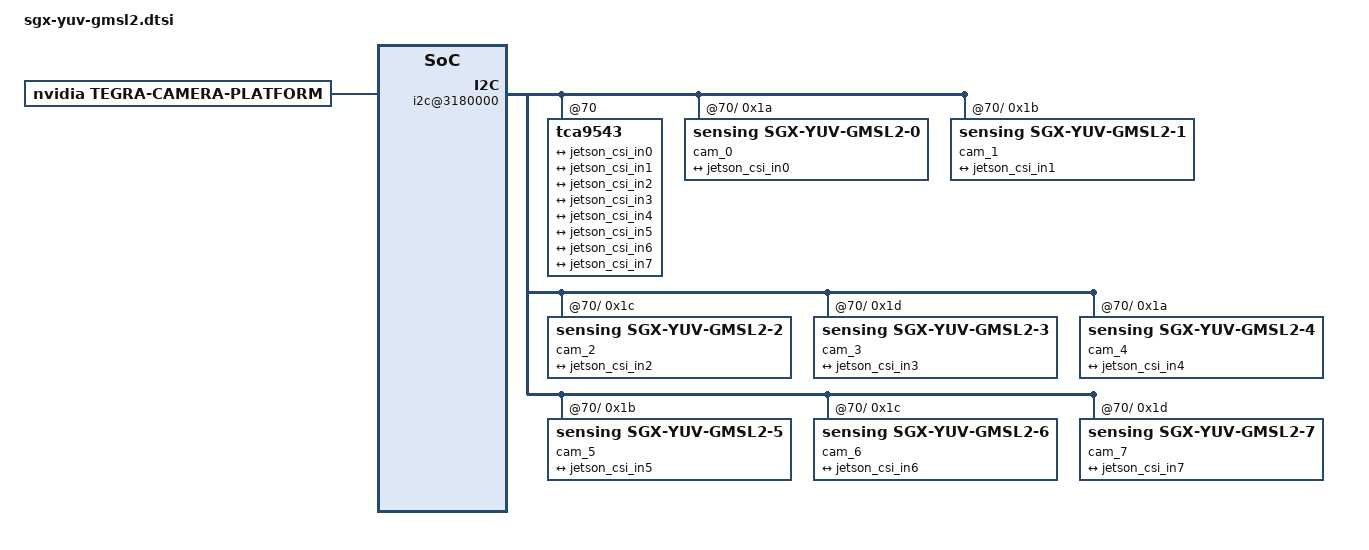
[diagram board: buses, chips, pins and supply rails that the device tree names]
/*
 * Copyright (c) 2018-2022, NVIDIA CORPORATION.  All rights reserved.
 *
 * This program is free software; you can redistribute it and/or modify
 * it under the terms of the GNU General Public License as published by
 * the Free Software Foundation; either version 2 of the License, or
 * (at your option) any later version.
 *
 * This program is distributed in the hope that it will be useful, but WITHOUT
 * ANY WARRANTY; without even the implied warranty of MERCHANTABILITY or
 * FITNESS FOR A PARTICULAR PURPOSE.  See the GNU General Public License for
 * more details.
 *
 * You should have received a copy of the GNU General Public License
 * along with this program.  If not, see <http://www.gnu.org/licenses/>.
 */

/ {

	tegra-capture-vi {
		num-channels = <8>;
		ports {
			#address-cells = <1>;
			#size-cells = <0>;
			port@0 {
				reg = <0>;
				jetson_vi_in0: endpoint {
					vc-id = <0>;
					port-index = <2>;
					bus-width = <4>;
					remote-endpoint = <&jetson_csi_out0>;
				};
			};
			port@1 {
				reg = <1>;
				jetson_vi_in1: endpoint {
					vc-id = <1>;
					port-index = <2>;
					bus-width = <4>;
					remote-endpoint = <&jetson_csi_out1>;
				};
			};
			port@2 {
				reg = <2>;
				jetson_vi_in2: endpoint {
					vc-id = <2>;
					port-index = <0>;
					bus-width = <4>;
					remote-endpoint = <&jetson_csi_out2>;
				};
			};
			port@3 {
				reg = <3>;
				jetson_vi_in3: endpoint {
					vc-id = <3>;
					port-index = <0>;
					bus-width = <4>;
					remote-endpoint = <&jetson_csi_out3>;
				};
			};
			port@4 {
				reg = <4>;
				jetson_vi_in4: endpoint {
					vc-id = <0>;
					port-index = <5>;
					bus-width = <4>;
					remote-endpoint = <&jetson_csi_out4>;
				};
			};
			port@5 {
				reg = <5>;
				jetson_vi_in5: endpoint {
					vc-id = <1>;
					port-index = <5>;
					bus-width = <4>;
					remote-endpoint = <&jetson_csi_out5>;
				};
			};
			port@6 {
				reg = <6>;
				jetson_vi_in6: endpoint {
					vc-id = <2>;
					port-index = <4>;
					bus-width = <4>;
					remote-endpoint = <&jetson_csi_out6>;
				};
			};
			port@7 {
				reg = <7>;
				jetson_vi_in7: endpoint {
					vc-id = <3>;
					port-index = <4>;
					bus-width = <4>;
					remote-endpoint = <&jetson_csi_out7>;
				};
			};
		};
	};

	host1x@13e00000 {
		nvcsi@15a00000 {
			num-channels = <8>;
			#address-cells = <1>;
			#size-cells = <0>;
			channel@0 {
				reg = <0>;
				ports {
					#address-cells = <1>;
					#size-cells = <0>;
					port@0 {
						reg = <0>;
						jetson_csi_in0: endpoint@0 {
							port-index = <2>;
							bus-width = <4>;
							remote-endpoint = <&cam_csi_out0>;
						};
					};
					port@1 {
						reg = <1>;
						jetson_csi_out0: endpoint@1 {
							remote-endpoint = <&jetson_vi_in0>;
						};
					};
				};
			};
			channel@1 {
				reg = <1>;
				ports {
					#address-cells = <1>;
					#size-cells = <0>;
					port@0 {
						reg = <0>;
						jetson_csi_in1: endpoint@2 {
							port-index = <2>;
							bus-width = <4>;
							remote-endpoint = <&cam_csi_out1>;
						};
					};
					port@1 {
						reg = <1>;
						jetson_csi_out1: endpoint@3 {
							remote-endpoint = <&jetson_vi_in1>;
						};
					};
				};
			};
			channel@2 {
				reg = <2>;
				ports {
					#address-cells = <1>;
					#size-cells = <0>;
					port@0 {
						reg = <0>;
						jetson_csi_in2: endpoint@4 {
							port-index = <0>;
							bus-width = <4>;
							remote-endpoint = <&cam_csi_out2>;
						};
					};
					port@1 {
						reg = <1>;
						jetson_csi_out2: endpoint@5 {
							remote-endpoint = <&jetson_vi_in2>;
						};
					};
				};
			};
			channel@3 {
				reg = <3>;
				ports {
					#address-cells = <1>;
					#size-cells = <0>;
					port@0 {
						reg = <0>;
						jetson_csi_in3: endpoint@6 {
							port-index = <0>;
							bus-width = <4>;
							remote-endpoint = <&cam_csi_out3>;
						};
					};
					port@1 {
						reg = <1>;
						jetson_csi_out3: endpoint@7 {
							remote-endpoint = <&jetson_vi_in3>;
						};
					};
				};
			};
			channel@4 {
				reg = <4>;
				ports {
					#address-cells = <1>;
					#size-cells = <0>;
					port@0 {
						reg = <0>;
						jetson_csi_in4: endpoint@8 {
							port-index = <6>;
							bus-width = <4>;
							remote-endpoint = <&cam_csi_out4>;
						};
					};
					port@1 {
						reg = <1>;
						jetson_csi_out4: endpoint@9 {
							remote-endpoint = <&jetson_vi_in4>;
						};
					};
				};
			};
			channel@5 {
				reg = <5>;
				ports {
					#address-cells = <1>;
					#size-cells = <0>;
					port@0 {
						reg = <0>;
						jetson_csi_in5: endpoint@10 {
							port-index = <6>;
							bus-width = <4>;
							remote-endpoint = <&cam_csi_out5>;
						};
					};
					port@1 {
						reg = <1>;
						jetson_csi_out5: endpoint@11 {
							remote-endpoint = <&jetson_vi_in5>;
						};
					};
				};
			};
			channel@6 {
				reg = <6>;
				ports {
					#address-cells = <1>;
					#size-cells = <0>;
					port@0 {
						reg = <0>;
						jetson_csi_in6: endpoint@12 {
							port-index = <4>;
							bus-width = <4>;
							remote-endpoint = <&cam_csi_out6>;
						};
					};
					port@1 {
						reg = <1>;
						jetson_csi_out6: endpoint@13 {
							remote-endpoint = <&jetson_vi_in6>;
						};
					};
				};
			};
			channel@7 {
				reg = <7>;
				ports {
					#address-cells = <1>;
					#size-cells = <0>;
					port@0 {
						reg = <0>;
						jetson_csi_in7: endpoint@14 {
							port-index = <4>;
							bus-width = <4>;
							remote-endpoint = <&cam_csi_out7>;
						};
					};
					port@1 {
						reg = <1>;
						jetson_csi_out7: endpoint@15 {
							remote-endpoint = <&jetson_vi_in7>;
						};
					};
				};
			};
		};
	};

	i2c@3180000 {
		tca9543@70 {
			i2c@0 {
				cam_0@1a {
					compatible = "sensing,sgx-yuv-gmsl2-0";
					reg = <0x1a>;
					devnode = "video0";

					/* Physical dimensions of sensor */
					physical_w = "15.0";
					physical_h = "12.5";

					sensor_model ="sgx-yuv-gmsl2";

					/* Defines number of frames to be dropped by driver internally after applying */
					/* sensor crop settings. Some sensors send corrupt frames after applying */
					/* crop co-ordinates */
					post_crop_frame_drop = "0";

					/* Convert Gain to unit of dB (decibel) befor passing to kernel driver */
					use_decibel_gain = "true";

					/* enable CID_SENSOR_MODE_ID for sensor modes selection */
					use_sensor_mode_id = "true";

					mode0 {/*mode SENSOR_MODE_1280X720_30FPS*/
						mclk_khz = "24000";
						num_lanes = "4";
						tegra_sinterface = "serial_c";
						vc_id = "0";
						discontinuous_clk = "no";
						dpcm_enable = "false";
						cil_settletime = "0";
						dynamic_pixel_bit_depth = "16";
						csi_pixel_bit_depth = "16";
						mode_type = "yuv";
						pixel_phase = "uyvy";
						
						active_w = "1280";
						active_h = "720";
						readout_orientation = "0";
						line_length = "2200";
						inherent_gain = "1";
						pix_clk_hz = "150000000";
						serdes_pix_clk_hz = "350000000";
						gain_factor = "16";
						min_gain_val = "16"; /* 1.00x */
						max_gain_val = "356"; /* 22x */
						step_gain_val = "1";
						default_gain = "16"; /* 1.00x */
						min_hdr_ratio = "1";
						max_hdr_ratio = "1";
						framerate_factor = "1000000";
						min_framerate = "30000000";
						max_framerate = "30000000";
						step_framerate = "1";
						default_framerate = "30000000";
						exposure_factor = "1000000";
						min_exp_time = "59"; /*us, 2 lines*/
						max_exp_time = "33333";
						step_exp_time = "1";
						default_exp_time = "33333";/* us */
						embedded_metadata_height = "0";
					};
					mode1 {/*mode SENSOR_MODE_1920X1080_30FPS*/
						mclk_khz = "24000";
						num_lanes = "4";
						tegra_sinterface = "serial_c";
						vc_id = "0";
						discontinuous_clk = "no";
						dpcm_enable = "false";
						cil_settletime = "0";
						dynamic_pixel_bit_depth = "16";
						csi_pixel_bit_depth = "16";
						mode_type = "yuv";
						pixel_phase = "uyvy";

						active_w = "1920";
						active_h = "1080";
						readout_orientation = "0";
						line_length = "2200";
						inherent_gain = "1";
						pix_clk_hz = "74250000";
						serdes_pix_clk_hz = "300000000";

						gain_factor = "100";
						min_gain_val = "100"; /* dB */
						max_gain_val = "1600"; /* dB */
						step_gain_val = "1"; /* 0.1 */
						default_gain = "100";
						min_hdr_ratio = "1";
						max_hdr_ratio = "1";
						framerate_factor = "1000000";
						min_framerate = "30000000";
						max_framerate = "30000000";
						step_framerate = "1";
						default_framerate = "30000000";
						exposure_factor = "1000000";
						min_exp_time = "28"; /*us, 2 lines*/
						max_exp_time = "22000";
						step_exp_time = "1";
						default_exp_time = "22000";/* us */
						embedded_metadata_height = "0";
					};
					mode2 {/*mode SENSOR_MODE_1920X1536_30FPS*/
						mclk_khz = "24000";
						num_lanes = "4";
						tegra_sinterface = "serial_c";
						vc_id = "0";
						discontinuous_clk = "no";
						dpcm_enable = "false";
						cil_settletime = "0";
						dynamic_pixel_bit_depth = "16";
						csi_pixel_bit_depth = "16";
						mode_type = "yuv";
						pixel_phase = "uyvy";

						active_w = "1920";
						active_h = "1536";
						readout_orientation = "0";
						line_length = "2200";
						inherent_gain = "1";
						pix_clk_hz = "74250000";
						serdes_pix_clk_hz = "300000000";

						gain_factor = "100";
						min_gain_val = "100"; /* dB */
						max_gain_val = "1600"; /* dB */
						step_gain_val = "1"; /* 0.1 */
						default_gain = "100";
						min_hdr_ratio = "1";
						max_hdr_ratio = "1";
						framerate_factor = "1000000";
						min_framerate = "30000000";
						max_framerate = "30000000";
						step_framerate = "1";
						default_framerate = "30000000";
						exposure_factor = "1000000";
						min_exp_time = "28"; /*us, 2 lines*/
						max_exp_time = "22000";
						step_exp_time = "1";
						default_exp_time = "22000";/* us */
						embedded_metadata_height = "0";
					};
					mode3 {/*mode SENSOR_MODE_2880X1860_30FPS*/
						mclk_khz = "24000";
						num_lanes = "4";
						tegra_sinterface = "serial_c";
						vc_id = "0";
						discontinuous_clk = "no";
						dpcm_enable = "false";
						cil_settletime = "0";
						dynamic_pixel_bit_depth = "16";
						csi_pixel_bit_depth = "16";
						mode_type = "yuv";
						pixel_phase = "uyvy";
					
						active_w = "2880";
						active_h = "1860";
						readout_orientation = "0";
						line_length = "3200";
						inherent_gain = "1";
						pix_clk_hz = "297000000";
						serdes_pix_clk_hz = "300000000";

						gain_factor = "1000";
						min_gain_val = "1"; /* dB */
						max_gain_val = "30000"; /* dB */
						step_gain_val = "300"; /* 0.3 */
						default_gain = "0";
						min_hdr_ratio = "1";
						max_hdr_ratio = "1";
						framerate_factor = "1000000";
						min_framerate = "30000000";
						max_framerate = "30000000";
						step_framerate = "1";
						default_framerate = "30000000";
						exposure_factor = "1000000";
						min_exp_time = "59"; /*us, 2 lines*/
						max_exp_time = "33333";
						step_exp_time = "1";
						default_exp_time = "33333";/* us */
						embedded_metadata_height = "0";
					};
					mode4 {/*mode SENSOR_MODE_3840X2160_30FPS*/
						mclk_khz = "24000";
						num_lanes = "4";
						tegra_sinterface = "serial_c";
						vc_id = "0";
						discontinuous_clk = "no";
						dpcm_enable = "false";
						cil_settletime = "0";
						dynamic_pixel_bit_depth = "16";
						csi_pixel_bit_depth = "16";
						mode_type = "yuv";
						pixel_phase = "uyvy";

						active_w = "3840";
						active_h = "2160";
						readout_orientation = "0";
						line_length = "4200";
						inherent_gain = "1";
						pix_clk_hz = "248832000";
						serdes_pix_clk_hz = "375000000";

						gain_factor = "100";
						min_gain_val = "100"; /* dB */
						max_gain_val = "1600"; /* dB */
						step_gain_val = "1"; /* 0.1 */
						default_gain = "100";
						min_hdr_ratio = "1";
						max_hdr_ratio = "1";
						framerate_factor = "1000000";
						min_framerate = "30000000";
						max_framerate = "30000000";
						step_framerate = "1";
						default_framerate = "30000000";
						exposure_factor = "1000000";
						min_exp_time = "28"; /*us, 2 lines*/
						max_exp_time = "22000";
						step_exp_time = "1";
						default_exp_time = "22000";/* us */
						embedded_metadata_height = "0";
					};

					ports {
						#address-cells = <1>;
						#size-cells = <0>;
						port@0 {
							reg = <0>;
							cam_csi_out0: endpoint {
								vc-id = <0>;
								port-index = <2>;
								bus-width = <4>;
								remote-endpoint = <&jetson_csi_in0>;
							};
						};
					};
				};
				cam_1@1b {
					compatible = "sensing,sgx-yuv-gmsl2-1";
					reg = <0x1b>;
					devnode = "video1";

					/* Physical dimensions of sensor */
					physical_w = "15.0";
					physical_h = "12.5";

					sensor_model ="sgx-yuv-gmsl2";

					/* Defines number of frames to be dropped by driver internally after applying */
					/* sensor crop settings. Some sensors send corrupt frames after applying */
					/* crop co-ordinates */
					post_crop_frame_drop = "0";

					/* Convert Gain to unit of dB (decibel) befor passing to kernel driver */
					use_decibel_gain = "true";

					/* enable CID_SENSOR_MODE_ID for sensor modes selection */
					use_sensor_mode_id = "true";

					mode0 {/*mode SENSOR_MODE_1280X720_30FPS*/
						mclk_khz = "24000";
						num_lanes = "4";
						tegra_sinterface = "serial_c";
						vc_id = "1";
						discontinuous_clk = "no";
						dpcm_enable = "false";
						cil_settletime = "0";
						dynamic_pixel_bit_depth = "16";
						csi_pixel_bit_depth = "16";
						mode_type = "yuv";
						pixel_phase = "uyvy";
						
						active_w = "1280";
						active_h = "720";
						readout_orientation = "0";
						line_length = "2200";
						inherent_gain = "1";
						pix_clk_hz = "150000000";
						serdes_pix_clk_hz = "350000000";
						gain_factor = "16";
						min_gain_val = "16"; /* 1.00x */
						max_gain_val = "356"; /* 22x */
						step_gain_val = "1";
						default_gain = "16"; /* 1.00x */
						min_hdr_ratio = "1";
						max_hdr_ratio = "1";
						framerate_factor = "1000000";
						min_framerate = "30000000";
						max_framerate = "30000000";
						step_framerate = "1";
						default_framerate = "30000000";
						exposure_factor = "1000000";
						min_exp_time = "59"; /*us, 2 lines*/
						max_exp_time = "33333";
						step_exp_time = "1";
						default_exp_time = "33333";/* us */
						embedded_metadata_height = "0";
					};
					mode1 {/*mode SENSOR_MODE_1920X1080_30FPS*/
						mclk_khz = "24000";
						num_lanes = "4";
						tegra_sinterface = "serial_c";
						vc_id = "1";
						discontinuous_clk = "no";
						dpcm_enable = "false";
						cil_settletime = "0";
						dynamic_pixel_bit_depth = "16";
						csi_pixel_bit_depth = "16";
						mode_type = "yuv";
						pixel_phase = "uyvy";

						active_w = "1920";
						active_h = "1080";
						readout_orientation = "0";
						line_length = "2200";
						inherent_gain = "1";
						pix_clk_hz = "74250000";
						serdes_pix_clk_hz = "300000000";

						gain_factor = "100";
						min_gain_val = "100"; /* dB */
						max_gain_val = "1600"; /* dB */
						step_gain_val = "1"; /* 0.1 */
						default_gain = "100";
						min_hdr_ratio = "1";
						max_hdr_ratio = "1";
						framerate_factor = "1000000";
						min_framerate = "30000000";
						max_framerate = "30000000";
						step_framerate = "1";
						default_framerate = "30000000";
						exposure_factor = "1000000";
						min_exp_time = "28"; /*us, 2 lines*/
						max_exp_time = "22000";
						step_exp_time = "1";
						default_exp_time = "22000";/* us */
						embedded_metadata_height = "0";
					};
					mode2 {/*mode SENSOR_MODE_1920X1536_30FPS*/
						mclk_khz = "24000";
						num_lanes = "4";
						tegra_sinterface = "serial_c";
						vc_id = "1";
						discontinuous_clk = "no";
						dpcm_enable = "false";
						cil_settletime = "0";
						dynamic_pixel_bit_depth = "16";
						csi_pixel_bit_depth = "16";
						mode_type = "yuv";
						pixel_phase = "uyvy";

						active_w = "1920";
						active_h = "1536";
						readout_orientation = "0";
						line_length = "2200";
						inherent_gain = "1";
						pix_clk_hz = "74250000";
						serdes_pix_clk_hz = "300000000";

						gain_factor = "100";
						min_gain_val = "100"; /* dB */
						max_gain_val = "1600"; /* dB */
						step_gain_val = "1"; /* 0.1 */
						default_gain = "100";
						min_hdr_ratio = "1";
						max_hdr_ratio = "1";
						framerate_factor = "1000000";
						min_framerate = "30000000";
						max_framerate = "30000000";
						step_framerate = "1";
						default_framerate = "30000000";
						exposure_factor = "1000000";
						min_exp_time = "28"; /*us, 2 lines*/
						max_exp_time = "22000";
						step_exp_time = "1";
						default_exp_time = "22000";/* us */
						embedded_metadata_height = "0";
					};
					mode3 {/*mode SENSOR_MODE_2880X1860_30FPS*/
						mclk_khz = "24000";
						num_lanes = "4";
						tegra_sinterface = "serial_c";
						vc_id = "1";
						discontinuous_clk = "no";
						dpcm_enable = "false";
						cil_settletime = "0";
						dynamic_pixel_bit_depth = "16";
						csi_pixel_bit_depth = "16";
						mode_type = "yuv";
						pixel_phase = "uyvy";
					
						active_w = "2880";
						active_h = "1860";
						readout_orientation = "0";
						line_length = "3200";
						inherent_gain = "1";
						pix_clk_hz = "297000000";
						serdes_pix_clk_hz = "300000000";

						gain_factor = "1000";
						min_gain_val = "1"; /* dB */
						max_gain_val = "30000"; /* dB */
						step_gain_val = "300"; /* 0.3 */
						default_gain = "0";
						min_hdr_ratio = "1";
						max_hdr_ratio = "1";
						framerate_factor = "1000000";
						min_framerate = "30000000";
						max_framerate = "30000000";
						step_framerate = "1";
						default_framerate = "30000000";
						exposure_factor = "1000000";
						min_exp_time = "59"; /*us, 2 lines*/
						max_exp_time = "33333";
						step_exp_time = "1";
						default_exp_time = "33333";/* us */
						embedded_metadata_height = "0";
					};
					mode4 {/*mode SENSOR_MODE_3840X2160_30FPS*/
						mclk_khz = "24000";
						num_lanes = "4";
						tegra_sinterface = "serial_c";
						vc_id = "1";
						discontinuous_clk = "no";
						dpcm_enable = "false";
						cil_settletime = "0";
						dynamic_pixel_bit_depth = "16";
						csi_pixel_bit_depth = "16";
						mode_type = "yuv";
						pixel_phase = "uyvy";

						active_w = "3840";
						active_h = "2160";
						readout_orientation = "0";
						line_length = "4200";
						inherent_gain = "1";
						pix_clk_hz = "248832000";
						serdes_pix_clk_hz = "375000000";

						gain_factor = "100";
						min_gain_val = "100"; /* dB */
						max_gain_val = "1600"; /* dB */
						step_gain_val = "1"; /* 0.1 */
						default_gain = "100";
						min_hdr_ratio = "1";
						max_hdr_ratio = "1";
						framerate_factor = "1000000";
						min_framerate = "30000000";
						max_framerate = "30000000";
						step_framerate = "1";
						default_framerate = "30000000";
						exposure_factor = "1000000";
						min_exp_time = "28"; /*us, 2 lines*/
						max_exp_time = "22000";
						step_exp_time = "1";
						default_exp_time = "22000";/* us */
						embedded_metadata_height = "0";
					};

					ports {
						#address-cells = <1>;
						#size-cells = <0>;
						port@0 {
							reg = <0>;
							cam_csi_out1: endpoint {
								vc-id = <1>;
								port-index = <2>;
								bus-width = <4>;
								remote-endpoint = <&jetson_csi_in1>;
						    };
					    };
				    };
				};
				cam_2@1c {
					compatible = "sensing,sgx-yuv-gmsl2-2";
					reg = <0x1c>;
					devnode = "video2";

					/* Physical dimensions of sensor */
					physical_w = "15.0";
					physical_h = "12.5";

					sensor_model ="sgx-yuv-gmsl2";

					/* Defines number of frames to be dropped by driver internally after applying */
					/* sensor crop settings. Some sensors send corrupt frames after applying */
					/* crop co-ordinates */
					post_crop_frame_drop = "0";

					/* Convert Gain to unit of dB (decibel) befor passing to kernel driver */
					use_decibel_gain = "true";

					/* enable CID_SENSOR_MODE_ID for sensor modes selection */
					use_sensor_mode_id = "true";

					mode0 {/*mode SENSOR_MODE_1280X720_30FPS*/
						mclk_khz = "24000";
						num_lanes = "4";
						tegra_sinterface = "serial_a";
						vc_id = "2";
						discontinuous_clk = "no";
						dpcm_enable = "false";
						cil_settletime = "0";
						dynamic_pixel_bit_depth = "16";
						csi_pixel_bit_depth = "16";
						mode_type = "yuv";
						pixel_phase = "uyvy";
						
						active_w = "1280";
						active_h = "720";
						readout_orientation = "0";
						line_length = "2200";
						inherent_gain = "1";
						pix_clk_hz = "150000000";
						serdes_pix_clk_hz = "350000000";
						gain_factor = "16";
						min_gain_val = "16"; /* 1.00x */
						max_gain_val = "356"; /* 22x */
						step_gain_val = "1";
						default_gain = "16"; /* 1.00x */
						min_hdr_ratio = "1";
						max_hdr_ratio = "1";
						framerate_factor = "1000000";
						min_framerate = "30000000";
						max_framerate = "30000000";
						step_framerate = "1";
						default_framerate = "30000000";
						exposure_factor = "1000000";
						min_exp_time = "59"; /*us, 2 lines*/
						max_exp_time = "33333";
						step_exp_time = "1";
						default_exp_time = "33333";/* us */
						embedded_metadata_height = "0";
					};
					mode1 {/*mode SENSOR_MODE_1920X1080_30FPS*/
						mclk_khz = "24000";
						num_lanes = "4";
						tegra_sinterface = "serial_a";
						vc_id = "2";
						discontinuous_clk = "no";
						dpcm_enable = "false";
						cil_settletime = "0";
						dynamic_pixel_bit_depth = "16";
						csi_pixel_bit_depth = "16";
						mode_type = "yuv";
						pixel_phase = "uyvy";

						active_w = "1920";
						active_h = "1080";
						readout_orientation = "0";
						line_length = "2200";
						inherent_gain = "1";
						pix_clk_hz = "74250000";
						serdes_pix_clk_hz = "300000000";

						gain_factor = "100";
						min_gain_val = "100"; /* dB */
						max_gain_val = "1600"; /* dB */
						step_gain_val = "1"; /* 0.1 */
						default_gain = "100";
						min_hdr_ratio = "1";
						max_hdr_ratio = "1";
						framerate_factor = "1000000";
						min_framerate = "30000000";
						max_framerate = "30000000";
						step_framerate = "1";
						default_framerate = "30000000";
						exposure_factor = "1000000";
						min_exp_time = "28"; /*us, 2 lines*/
						max_exp_time = "22000";
						step_exp_time = "1";
						default_exp_time = "22000";/* us */
						embedded_metadata_height = "0";
					};
					mode2 {/*mode SENSOR_MODE_1920X1536_30FPS*/
						mclk_khz = "24000";
						num_lanes = "4";
						tegra_sinterface = "serial_a";
						vc_id = "2";
						discontinuous_clk = "no";
						dpcm_enable = "false";
						cil_settletime = "0";
						dynamic_pixel_bit_depth = "16";
						csi_pixel_bit_depth = "16";
						mode_type = "yuv";
						pixel_phase = "uyvy";

						active_w = "1920";
						active_h = "1536";
						readout_orientation = "0";
						line_length = "2200";
						inherent_gain = "1";
						pix_clk_hz = "74250000";
						serdes_pix_clk_hz = "300000000";

						gain_factor = "100";
						min_gain_val = "100"; /* dB */
						max_gain_val = "1600"; /* dB */
						step_gain_val = "1"; /* 0.1 */
						default_gain = "100";
						min_hdr_ratio = "1";
						max_hdr_ratio = "1";
						framerate_factor = "1000000";
						min_framerate = "30000000";
						max_framerate = "30000000";
						step_framerate = "1";
						default_framerate = "30000000";
						exposure_factor = "1000000";
						min_exp_time = "28"; /*us, 2 lines*/
						max_exp_time = "22000";
						step_exp_time = "1";
						default_exp_time = "22000";/* us */
						embedded_metadata_height = "0";
					};
					mode3 {/*mode SENSOR_MODE_2880X1860_30FPS*/
						mclk_khz = "24000";
						num_lanes = "4";
						tegra_sinterface = "serial_a";
						vc_id = "2";
						discontinuous_clk = "no";
						dpcm_enable = "false";
						cil_settletime = "0";
						dynamic_pixel_bit_depth = "16";
						csi_pixel_bit_depth = "16";
						mode_type = "yuv";
						pixel_phase = "uyvy";
					
						active_w = "2880";
						active_h = "1860";
						readout_orientation = "0";
						line_length = "3200";
						inherent_gain = "1";
						pix_clk_hz = "297000000";
						serdes_pix_clk_hz = "300000000";

						gain_factor = "1000";
						min_gain_val = "1"; /* dB */
						max_gain_val = "30000"; /* dB */
						step_gain_val = "300"; /* 0.3 */
						default_gain = "0";
						min_hdr_ratio = "1";
						max_hdr_ratio = "1";
						framerate_factor = "1000000";
						min_framerate = "30000000";
						max_framerate = "30000000";
						step_framerate = "1";
						default_framerate = "30000000";
						exposure_factor = "1000000";
						min_exp_time = "59"; /*us, 2 lines*/
						max_exp_time = "33333";
						step_exp_time = "1";
						default_exp_time = "33333";/* us */
						embedded_metadata_height = "0";
					};
					mode4 {/*mode SENSOR_MODE_3840X2160_30FPS*/
						mclk_khz = "24000";
						num_lanes = "4";
						tegra_sinterface = "serial_a";
						vc_id = "2";
						discontinuous_clk = "no";
						dpcm_enable = "false";
						cil_settletime = "0";
						dynamic_pixel_bit_depth = "16";
						csi_pixel_bit_depth = "16";
						mode_type = "yuv";
						pixel_phase = "uyvy";

						active_w = "3840";
						active_h = "2160";
						readout_orientation = "0";
						line_length = "4200";
						inherent_gain = "1";
						pix_clk_hz = "248832000";
						serdes_pix_clk_hz = "375000000";

						gain_factor = "100";
						min_gain_val = "100"; /* dB */
						max_gain_val = "1600"; /* dB */
						step_gain_val = "1"; /* 0.1 */
						default_gain = "100";
						min_hdr_ratio = "1";
						max_hdr_ratio = "1";
						framerate_factor = "1000000";
						min_framerate = "30000000";
						max_framerate = "30000000";
						step_framerate = "1";
						default_framerate = "30000000";
						exposure_factor = "1000000";
						min_exp_time = "28"; /*us, 2 lines*/
						max_exp_time = "22000";
						step_exp_time = "1";
						default_exp_time = "22000";/* us */
						embedded_metadata_height = "0";
					};

					ports {
						#address-cells = <1>;
						#size-cells = <0>;
						port@0 {
							reg = <0>;
							cam_csi_out2: endpoint {
								vc-id = <2>;
								port-index = <0>;
								bus-width = <4>;
								remote-endpoint = <&jetson_csi_in2>;
						    };
					    };
				    };
				};
				cam_3@1d {
					compatible = "sensing,sgx-yuv-gmsl2-3";
					reg = <0x1d>;
					devnode = "video3";

					/* Physical dimensions of sensor */
					physical_w = "15.0";
					physical_h = "12.5";

					sensor_model ="sgx-yuv-gmsl2";

					/* Defines number of frames to be dropped by driver internally after applying */
					/* sensor crop settings. Some sensors send corrupt frames after applying */
					/* crop co-ordinates */
					post_crop_frame_drop = "0";

					/* Convert Gain to unit of dB (decibel) befor passing to kernel driver */
					use_decibel_gain = "true";

					/* enable CID_SENSOR_MODE_ID for sensor modes selection */
					use_sensor_mode_id = "true";
					mode0 {/*mode SENSOR_MODE_1280X720_30FPS*/
						mclk_khz = "24000";
						num_lanes = "4";
						tegra_sinterface = "serial_a";
						vc_id = "3";
						discontinuous_clk = "no";
						dpcm_enable = "false";
						cil_settletime = "0";
						dynamic_pixel_bit_depth = "16";
						csi_pixel_bit_depth = "16";
						mode_type = "yuv";
						pixel_phase = "uyvy";
						
						active_w = "1280";
						active_h = "720";
						readout_orientation = "0";
						line_length = "2200";
						inherent_gain = "1";
						pix_clk_hz = "150000000";
						serdes_pix_clk_hz = "350000000";
						gain_factor = "16";
						min_gain_val = "16"; /* 1.00x */
						max_gain_val = "356"; /* 22x */
						step_gain_val = "1";
						default_gain = "16"; /* 1.00x */
						min_hdr_ratio = "1";
						max_hdr_ratio = "1";
						framerate_factor = "1000000";
						min_framerate = "30000000";
						max_framerate = "30000000";
						step_framerate = "1";
						default_framerate = "30000000";
						exposure_factor = "1000000";
						min_exp_time = "59"; /*us, 2 lines*/
						max_exp_time = "33333";
						step_exp_time = "1";
						default_exp_time = "33333";/* us */
						embedded_metadata_height = "0";
					};
					mode1 {/*mode SENSOR_MODE_1920X1080_30FPS*/
						mclk_khz = "24000";
						num_lanes = "4";
						tegra_sinterface = "serial_a";
						vc_id = "3";
						discontinuous_clk = "no";
						dpcm_enable = "false";
						cil_settletime = "0";
						dynamic_pixel_bit_depth = "16";
						csi_pixel_bit_depth = "16";
						mode_type = "yuv";
						pixel_phase = "uyvy";

						active_w = "1920";
						active_h = "1080";
						readout_orientation = "0";
						line_length = "2200";
						inherent_gain = "1";
						pix_clk_hz = "74250000";
						serdes_pix_clk_hz = "300000000";

						gain_factor = "100";
						min_gain_val = "100"; /* dB */
						max_gain_val = "1600"; /* dB */
						step_gain_val = "1"; /* 0.1 */
						default_gain = "100";
						min_hdr_ratio = "1";
						max_hdr_ratio = "1";
						framerate_factor = "1000000";
						min_framerate = "30000000";
						max_framerate = "30000000";
						step_framerate = "1";
						default_framerate = "30000000";
						exposure_factor = "1000000";
						min_exp_time = "28"; /*us, 2 lines*/
						max_exp_time = "22000";
						step_exp_time = "1";
						default_exp_time = "22000";/* us */
						embedded_metadata_height = "0";
					};
					mode2 {/*mode SENSOR_MODE_1920X1536_30FPS*/
						mclk_khz = "24000";
						num_lanes = "4";
						tegra_sinterface = "serial_a";
						vc_id = "3";
						discontinuous_clk = "no";
						dpcm_enable = "false";
						cil_settletime = "0";
						dynamic_pixel_bit_depth = "16";
						csi_pixel_bit_depth = "16";
						mode_type = "yuv";
						pixel_phase = "uyvy";

						active_w = "1920";
						active_h = "1536";
						readout_orientation = "0";
						line_length = "2200";
						inherent_gain = "1";
						pix_clk_hz = "74250000";
						serdes_pix_clk_hz = "300000000";

						gain_factor = "100";
						min_gain_val = "100"; /* dB */
						max_gain_val = "1600"; /* dB */
						step_gain_val = "1"; /* 0.1 */
						default_gain = "100";
						min_hdr_ratio = "1";
						max_hdr_ratio = "1";
						framerate_factor = "1000000";
						min_framerate = "30000000";
						max_framerate = "30000000";
						step_framerate = "1";
						default_framerate = "30000000";
						exposure_factor = "1000000";
						min_exp_time = "28"; /*us, 2 lines*/
						max_exp_time = "22000";
						step_exp_time = "1";
						default_exp_time = "22000";/* us */
						embedded_metadata_height = "0";
					};
					mode3 {/*mode SENSOR_MODE_2880X1860_30FPS*/
						mclk_khz = "24000";
						num_lanes = "4";
						tegra_sinterface = "serial_a";
						vc_id = "3";
						discontinuous_clk = "no";
						dpcm_enable = "false";
						cil_settletime = "0";
						dynamic_pixel_bit_depth = "16";
						csi_pixel_bit_depth = "16";
						mode_type = "yuv";
						pixel_phase = "uyvy";
					
						active_w = "2880";
						active_h = "1860";
						readout_orientation = "0";
						line_length = "3200";
						inherent_gain = "1";
						pix_clk_hz = "297000000";
						serdes_pix_clk_hz = "300000000";

						gain_factor = "1000";
						min_gain_val = "1"; /* dB */
						max_gain_val = "30000"; /* dB */
						step_gain_val = "300"; /* 0.3 */
						default_gain = "0";
						min_hdr_ratio = "1";
						max_hdr_ratio = "1";
						framerate_factor = "1000000";
						min_framerate = "30000000";
						max_framerate = "30000000";
						step_framerate = "1";
						default_framerate = "30000000";
						exposure_factor = "1000000";
						min_exp_time = "59"; /*us, 2 lines*/
						max_exp_time = "33333";
						step_exp_time = "1";
						default_exp_time = "33333";/* us */
						embedded_metadata_height = "0";
					};
					mode4 {/*mode SENSOR_MODE_3840X2160_30FPS*/
						mclk_khz = "24000";
						num_lanes = "4";
						tegra_sinterface = "serial_a";
						vc_id = "3";
						discontinuous_clk = "no";
						dpcm_enable = "false";
						cil_settletime = "0";
						dynamic_pixel_bit_depth = "16";
						csi_pixel_bit_depth = "16";
						mode_type = "yuv";
						pixel_phase = "uyvy";

						active_w = "3840";
						active_h = "2160";
						readout_orientation = "0";
						line_length = "4200";
						inherent_gain = "1";
						pix_clk_hz = "248832000";
						serdes_pix_clk_hz = "375000000";

						gain_factor = "100";
						min_gain_val = "100"; /* dB */
						max_gain_val = "1600"; /* dB */
						step_gain_val = "1"; /* 0.1 */
						default_gain = "100";
						min_hdr_ratio = "1";
						max_hdr_ratio = "1";
						framerate_factor = "1000000";
						min_framerate = "30000000";
						max_framerate = "30000000";
						step_framerate = "1";
						default_framerate = "30000000";
						exposure_factor = "1000000";
						min_exp_time = "28"; /*us, 2 lines*/
						max_exp_time = "22000";
						step_exp_time = "1";
						default_exp_time = "22000";/* us */
						embedded_metadata_height = "0";
					};

					ports {
						#address-cells = <1>;
						#size-cells = <0>;
						port@0 {
							reg = <0>;
							cam_csi_out3: endpoint {
								vc-id = <3>;
								port-index = <0>;
								bus-width = <4>;
								remote-endpoint = <&jetson_csi_in3>;
						    };
					    };
				    };
				};
			};
			i2c@1 {
				cam_4@1a {
					compatible = "sensing,sgx-yuv-gmsl2-4";
					reg = <0x1a>;
					devnode = "video4";

					/* Physical dimensions of sensor */
					physical_w = "15.0";
					physical_h = "12.5";

					sensor_model ="sgx-yuv-gmsl2";

					/* Defines number of frames to be dropped by driver internally after applying */
					/* sensor crop settings. Some sensors send corrupt frames after applying */
					/* crop co-ordinates */
					post_crop_frame_drop = "0";

					/* Convert Gain to unit of dB (decibel) befor passing to kernel driver */
					use_decibel_gain = "true";

					/* enable CID_SENSOR_MODE_ID for sensor modes selection */
					use_sensor_mode_id = "true";

					mode0 {/*mode SENSOR_MODE_1280X720_30FPS*/
						mclk_khz = "24000";
						num_lanes = "4";
						tegra_sinterface = "serial_g";
						vc_id = "0";
						discontinuous_clk = "no";
						dpcm_enable = "false";
						cil_settletime = "0";
						dynamic_pixel_bit_depth = "16";
						csi_pixel_bit_depth = "16";
						mode_type = "yuv";
						pixel_phase = "uyvy";
						
						active_w = "1280";
						active_h = "720";
						readout_orientation = "0";
						line_length = "2200";
						inherent_gain = "1";
						pix_clk_hz = "150000000";
						serdes_pix_clk_hz = "350000000";
						gain_factor = "16";
						min_gain_val = "16"; /* 1.00x */
						max_gain_val = "356"; /* 22x */
						step_gain_val = "1";
						default_gain = "16"; /* 1.00x */
						min_hdr_ratio = "1";
						max_hdr_ratio = "1";
						framerate_factor = "1000000";
						min_framerate = "30000000";
						max_framerate = "30000000";
						step_framerate = "1";
						default_framerate = "30000000";
						exposure_factor = "1000000";
						min_exp_time = "59"; /*us, 2 lines*/
						max_exp_time = "33333";
						step_exp_time = "1";
						default_exp_time = "33333";/* us */
						embedded_metadata_height = "0";
					};
					mode1 {/*mode SENSOR_MODE_1920X1080_30FPS*/
						mclk_khz = "24000";
						num_lanes = "4";
						tegra_sinterface = "serial_g";
						vc_id = "0";
						discontinuous_clk = "no";
						dpcm_enable = "false";
						cil_settletime = "0";
						dynamic_pixel_bit_depth = "16";
						csi_pixel_bit_depth = "16";
						mode_type = "yuv";
						pixel_phase = "uyvy";

						active_w = "1920";
						active_h = "1080";
						readout_orientation = "0";
						line_length = "2200";
						inherent_gain = "1";
						pix_clk_hz = "74250000";
						serdes_pix_clk_hz = "300000000";

						gain_factor = "100";
						min_gain_val = "100"; /* dB */
						max_gain_val = "1600"; /* dB */
						step_gain_val = "1"; /* 0.1 */
						default_gain = "100";
						min_hdr_ratio = "1";
						max_hdr_ratio = "1";
						framerate_factor = "1000000";
						min_framerate = "30000000";
						max_framerate = "30000000";
						step_framerate = "1";
						default_framerate = "30000000";
						exposure_factor = "1000000";
						min_exp_time = "28"; /*us, 2 lines*/
						max_exp_time = "22000";
						step_exp_time = "1";
						default_exp_time = "22000";/* us */
						embedded_metadata_height = "0";
					};
					mode2 {/*mode SENSOR_MODE_1920X1536_30FPS*/
						mclk_khz = "24000";
						num_lanes = "4";
						tegra_sinterface = "serial_g";
						vc_id = "0";
						discontinuous_clk = "no";
						dpcm_enable = "false";
						cil_settletime = "0";
						dynamic_pixel_bit_depth = "16";
						csi_pixel_bit_depth = "16";
						mode_type = "yuv";
						pixel_phase = "uyvy";

						active_w = "1920";
						active_h = "1536";
						readout_orientation = "0";
						line_length = "2200";
						inherent_gain = "1";
						pix_clk_hz = "74250000";
						serdes_pix_clk_hz = "300000000";

						gain_factor = "100";
						min_gain_val = "100"; /* dB */
						max_gain_val = "1600"; /* dB */
						step_gain_val = "1"; /* 0.1 */
						default_gain = "100";
						min_hdr_ratio = "1";
						max_hdr_ratio = "1";
						framerate_factor = "1000000";
						min_framerate = "30000000";
						max_framerate = "30000000";
						step_framerate = "1";
						default_framerate = "30000000";
						exposure_factor = "1000000";
						min_exp_time = "28"; /*us, 2 lines*/
						max_exp_time = "22000";
						step_exp_time = "1";
						default_exp_time = "22000";/* us */
						embedded_metadata_height = "0";
					};
					mode3 {/*mode SENSOR_MODE_2880X1860_30FPS*/
						mclk_khz = "24000";
						num_lanes = "4";
						tegra_sinterface = "serial_g";
						vc_id = "0";
						discontinuous_clk = "no";
						dpcm_enable = "false";
						cil_settletime = "0";
						dynamic_pixel_bit_depth = "16";
						csi_pixel_bit_depth = "16";
						mode_type = "yuv";
						pixel_phase = "uyvy";
					
						active_w = "2880";
						active_h = "1860";
						readout_orientation = "0";
						line_length = "3200";
						inherent_gain = "1";
						pix_clk_hz = "297000000";
						serdes_pix_clk_hz = "300000000";

						gain_factor = "1000";
						min_gain_val = "1"; /* dB */
						max_gain_val = "30000"; /* dB */
						step_gain_val = "300"; /* 0.3 */
						default_gain = "0";
						min_hdr_ratio = "1";
						max_hdr_ratio = "1";
						framerate_factor = "1000000";
						min_framerate = "30000000";
						max_framerate = "30000000";
						step_framerate = "1";
						default_framerate = "30000000";
						exposure_factor = "1000000";
						min_exp_time = "59"; /*us, 2 lines*/
						max_exp_time = "33333";
						step_exp_time = "1";
						default_exp_time = "33333";/* us */
						embedded_metadata_height = "0";
					};
					mode4 {/*mode SENSOR_MODE_3840X2160_30FPS*/
						mclk_khz = "24000";
						num_lanes = "4";
						tegra_sinterface = "serial_g";
						vc_id = "0";
						discontinuous_clk = "no";
						dpcm_enable = "false";
						cil_settletime = "0";
						dynamic_pixel_bit_depth = "16";
						csi_pixel_bit_depth = "16";
						mode_type = "yuv";
						pixel_phase = "uyvy";

						active_w = "3840";
						active_h = "2160";
						readout_orientation = "0";
						line_length = "4200";
						inherent_gain = "1";
						pix_clk_hz = "248832000";
						serdes_pix_clk_hz = "375000000";

						gain_factor = "100";
						min_gain_val = "100"; /* dB */
						max_gain_val = "1600"; /* dB */
						step_gain_val = "1"; /* 0.1 */
						default_gain = "100";
						min_hdr_ratio = "1";
						max_hdr_ratio = "1";
						framerate_factor = "1000000";
						min_framerate = "30000000";
						max_framerate = "30000000";
						step_framerate = "1";
						default_framerate = "30000000";
						exposure_factor = "1000000";
						min_exp_time = "28"; /*us, 2 lines*/
						max_exp_time = "22000";
						step_exp_time = "1";
						default_exp_time = "22000";/* us */
						embedded_metadata_height = "0";
					};

					ports {
						#address-cells = <1>;
						#size-cells = <0>;
						port@0 {
							reg = <0>;
							cam_csi_out4: endpoint {
								vc-id = <0>;
								port-index = <6>;
								bus-width = <4>;
								remote-endpoint = <&jetson_csi_in4>;
							};
						};
					};
				};
				cam_5@1b {
					compatible = "sensing,sgx-yuv-gmsl2-5";
					reg = <0x1b>;
					devnode = "video5";

					/* Physical dimensions of sensor */
					physical_w = "15.0";
					physical_h = "12.5";

					sensor_model ="sgx-yuv-gmsl2";

					/* Defines number of frames to be dropped by driver internally after applying */
					/* sensor crop settings. Some sensors send corrupt frames after applying */
					/* crop co-ordinates */
					post_crop_frame_drop = "0";

					/* Convert Gain to unit of dB (decibel) befor passing to kernel driver */
					use_decibel_gain = "true";

					/* enable CID_SENSOR_MODE_ID for sensor modes selection */
					use_sensor_mode_id = "true";

					mode0 {/*mode SENSOR_MODE_1280X720_30FPS*/
						mclk_khz = "24000";
						num_lanes = "4";
						tegra_sinterface = "serial_g";
						vc_id = "1";
						discontinuous_clk = "no";
						dpcm_enable = "false";
						cil_settletime = "0";
						dynamic_pixel_bit_depth = "16";
						csi_pixel_bit_depth = "16";
						mode_type = "yuv";
						pixel_phase = "uyvy";
						
						active_w = "1280";
						active_h = "720";
						readout_orientation = "0";
						line_length = "2200";
						inherent_gain = "1";
						pix_clk_hz = "150000000";
						serdes_pix_clk_hz = "350000000";
						gain_factor = "16";
						min_gain_val = "16"; /* 1.00x */
						max_gain_val = "356"; /* 22x */
						step_gain_val = "1";
						default_gain = "16"; /* 1.00x */
						min_hdr_ratio = "1";
						max_hdr_ratio = "1";
						framerate_factor = "1000000";
						min_framerate = "30000000";
						max_framerate = "30000000";
						step_framerate = "1";
						default_framerate = "30000000";
						exposure_factor = "1000000";
						min_exp_time = "59"; /*us, 2 lines*/
						max_exp_time = "33333";
						step_exp_time = "1";
						default_exp_time = "33333";/* us */
						embedded_metadata_height = "0";
					};
					mode1 {/*mode SENSOR_MODE_1920X1080_30FPS*/
						mclk_khz = "24000";
						num_lanes = "4";
						tegra_sinterface = "serial_g";
						vc_id = "1";
						discontinuous_clk = "no";
						dpcm_enable = "false";
						cil_settletime = "0";
						dynamic_pixel_bit_depth = "16";
						csi_pixel_bit_depth = "16";
						mode_type = "yuv";
						pixel_phase = "uyvy";

						active_w = "1920";
						active_h = "1080";
						readout_orientation = "0";
						line_length = "2200";
						inherent_gain = "1";
						pix_clk_hz = "74250000";
						serdes_pix_clk_hz = "300000000";

						gain_factor = "100";
						min_gain_val = "100"; /* dB */
						max_gain_val = "1600"; /* dB */
						step_gain_val = "1"; /* 0.1 */
						default_gain = "100";
						min_hdr_ratio = "1";
						max_hdr_ratio = "1";
						framerate_factor = "1000000";
						min_framerate = "30000000";
						max_framerate = "30000000";
						step_framerate = "1";
						default_framerate = "30000000";
						exposure_factor = "1000000";
						min_exp_time = "28"; /*us, 2 lines*/
						max_exp_time = "22000";
						step_exp_time = "1";
						default_exp_time = "22000";/* us */
						embedded_metadata_height = "0";
					};
					mode2 {/*mode SENSOR_MODE_1920X1536_30FPS*/
						mclk_khz = "24000";
						num_lanes = "4";
						tegra_sinterface = "serial_g";
						vc_id = "1";
						discontinuous_clk = "no";
						dpcm_enable = "false";
						cil_settletime = "0";
						dynamic_pixel_bit_depth = "16";
						csi_pixel_bit_depth = "16";
						mode_type = "yuv";
						pixel_phase = "uyvy";

						active_w = "1920";
						active_h = "1536";
						readout_orientation = "0";
						line_length = "2200";
						inherent_gain = "1";
						pix_clk_hz = "74250000";
						serdes_pix_clk_hz = "300000000";

						gain_factor = "100";
						min_gain_val = "100"; /* dB */
						max_gain_val = "1600"; /* dB */
						step_gain_val = "1"; /* 0.1 */
						default_gain = "100";
						min_hdr_ratio = "1";
						max_hdr_ratio = "1";
						framerate_factor = "1000000";
						min_framerate = "30000000";
						max_framerate = "30000000";
						step_framerate = "1";
						default_framerate = "30000000";
						exposure_factor = "1000000";
						min_exp_time = "28"; /*us, 2 lines*/
						max_exp_time = "22000";
						step_exp_time = "1";
						default_exp_time = "22000";/* us */
						embedded_metadata_height = "0";
					};
					mode3 {/*mode SENSOR_MODE_2880X1860_30FPS*/
						mclk_khz = "24000";
						num_lanes = "4";
						tegra_sinterface = "serial_g";
						vc_id = "1";
						discontinuous_clk = "no";
						dpcm_enable = "false";
						cil_settletime = "0";
						dynamic_pixel_bit_depth = "16";
						csi_pixel_bit_depth = "16";
						mode_type = "yuv";
						pixel_phase = "uyvy";
					
						active_w = "2880";
						active_h = "1860";
						readout_orientation = "0";
						line_length = "3200";
						inherent_gain = "1";
						pix_clk_hz = "297000000";
						serdes_pix_clk_hz = "300000000";

						gain_factor = "1000";
						min_gain_val = "1"; /* dB */
						max_gain_val = "30000"; /* dB */
						step_gain_val = "300"; /* 0.3 */
						default_gain = "0";
						min_hdr_ratio = "1";
						max_hdr_ratio = "1";
						framerate_factor = "1000000";
						min_framerate = "30000000";
						max_framerate = "30000000";
						step_framerate = "1";
						default_framerate = "30000000";
						exposure_factor = "1000000";
						min_exp_time = "59"; /*us, 2 lines*/
						max_exp_time = "33333";
						step_exp_time = "1";
						default_exp_time = "33333";/* us */
						embedded_metadata_height = "0";
					};
					mode4 {/*mode SENSOR_MODE_3840X2160_30FPS*/
						mclk_khz = "24000";
						num_lanes = "4";
						tegra_sinterface = "serial_g";
						vc_id = "1";
						discontinuous_clk = "no";
						dpcm_enable = "false";
						cil_settletime = "0";
						dynamic_pixel_bit_depth = "16";
						csi_pixel_bit_depth = "16";
						mode_type = "yuv";
						pixel_phase = "uyvy";

						active_w = "3840";
						active_h = "2160";
						readout_orientation = "0";
						line_length = "4200";
						inherent_gain = "1";
						pix_clk_hz = "248832000";
						serdes_pix_clk_hz = "375000000";

						gain_factor = "100";
						min_gain_val = "100"; /* dB */
						max_gain_val = "1600"; /* dB */
						step_gain_val = "1"; /* 0.1 */
						default_gain = "100";
						min_hdr_ratio = "1";
						max_hdr_ratio = "1";
						framerate_factor = "1000000";
						min_framerate = "30000000";
						max_framerate = "30000000";
						step_framerate = "1";
						default_framerate = "30000000";
						exposure_factor = "1000000";
						min_exp_time = "28"; /*us, 2 lines*/
						max_exp_time = "22000";
						step_exp_time = "1";
						default_exp_time = "22000";/* us */
						embedded_metadata_height = "0";
					};

					ports {
						#address-cells = <1>;
						#size-cells = <0>;
						port@0 {
							reg = <0>;
							cam_csi_out5: endpoint {
								vc-id = <1>;
								port-index = <6>;
								bus-width = <4>;
								remote-endpoint = <&jetson_csi_in5>;
						    };
					    };
				    };
				};
				cam_6@1c {
					compatible = "sensing,sgx-yuv-gmsl2-6";
					reg = <0x1c>;
					devnode = "video6";

					/* Physical dimensions of sensor */
					physical_w = "15.0";
					physical_h = "12.5";

					sensor_model ="sgx-yuv-gmsl2";

					/* Defines number of frames to be dropped by driver internally after applying */
					/* sensor crop settings. Some sensors send corrupt frames after applying */
					/* crop co-ordinates */
					post_crop_frame_drop = "0";

					/* Convert Gain to unit of dB (decibel) befor passing to kernel driver */
					use_decibel_gain = "true";

					/* enable CID_SENSOR_MODE_ID for sensor modes selection */
					use_sensor_mode_id = "true";

					mode0 {/*mode SENSOR_MODE_1280X720_30FPS*/
						mclk_khz = "24000";
						num_lanes = "4";
						tegra_sinterface = "serial_e";
						vc_id = "2";
						discontinuous_clk = "no";
						dpcm_enable = "false";
						cil_settletime = "0";
						dynamic_pixel_bit_depth = "16";
						csi_pixel_bit_depth = "16";
						mode_type = "yuv";
						pixel_phase = "uyvy";
						
						active_w = "1280";
						active_h = "720";
						readout_orientation = "0";
						line_length = "2200";
						inherent_gain = "1";
						pix_clk_hz = "150000000";
						serdes_pix_clk_hz = "350000000";
						gain_factor = "16";
						min_gain_val = "16"; /* 1.00x */
						max_gain_val = "356"; /* 22x */
						step_gain_val = "1";
						default_gain = "16"; /* 1.00x */
						min_hdr_ratio = "1";
						max_hdr_ratio = "1";
						framerate_factor = "1000000";
						min_framerate = "30000000";
						max_framerate = "30000000";
						step_framerate = "1";
						default_framerate = "30000000";
						exposure_factor = "1000000";
						min_exp_time = "59"; /*us, 2 lines*/
						max_exp_time = "33333";
						step_exp_time = "1";
						default_exp_time = "33333";/* us */
						embedded_metadata_height = "0";
					};
					mode1 {/*mode SENSOR_MODE_1920X1080_30FPS*/
						mclk_khz = "24000";
						num_lanes = "4";
						tegra_sinterface = "serial_e";
						vc_id = "2";
						discontinuous_clk = "no";
						dpcm_enable = "false";
						cil_settletime = "0";
						dynamic_pixel_bit_depth = "16";
						csi_pixel_bit_depth = "16";
						mode_type = "yuv";
						pixel_phase = "uyvy";

						active_w = "1920";
						active_h = "1080";
						readout_orientation = "0";
						line_length = "2200";
						inherent_gain = "1";
						pix_clk_hz = "74250000";
						serdes_pix_clk_hz = "300000000";

						gain_factor = "100";
						min_gain_val = "100"; /* dB */
						max_gain_val = "1600"; /* dB */
						step_gain_val = "1"; /* 0.1 */
						default_gain = "100";
						min_hdr_ratio = "1";
						max_hdr_ratio = "1";
						framerate_factor = "1000000";
						min_framerate = "30000000";
						max_framerate = "30000000";
						step_framerate = "1";
						default_framerate = "30000000";
						exposure_factor = "1000000";
						min_exp_time = "28"; /*us, 2 lines*/
						max_exp_time = "22000";
						step_exp_time = "1";
						default_exp_time = "22000";/* us */
						embedded_metadata_height = "0";
					};
					mode2 {/*mode SENSOR_MODE_1920X1536_30FPS*/
						mclk_khz = "24000";
						num_lanes = "4";
						tegra_sinterface = "serial_e";
						vc_id = "2";
						discontinuous_clk = "no";
						dpcm_enable = "false";
						cil_settletime = "0";
						dynamic_pixel_bit_depth = "16";
						csi_pixel_bit_depth = "16";
						mode_type = "yuv";
						pixel_phase = "uyvy";

						active_w = "1920";
						active_h = "1536";
						readout_orientation = "0";
						line_length = "2200";
						inherent_gain = "1";
						pix_clk_hz = "74250000";
						serdes_pix_clk_hz = "300000000";

						gain_factor = "100";
						min_gain_val = "100"; /* dB */
						max_gain_val = "1600"; /* dB */
						step_gain_val = "1"; /* 0.1 */
						default_gain = "100";
						min_hdr_ratio = "1";
						max_hdr_ratio = "1";
						framerate_factor = "1000000";
						min_framerate = "30000000";
						max_framerate = "30000000";
						step_framerate = "1";
						default_framerate = "30000000";
						exposure_factor = "1000000";
						min_exp_time = "28"; /*us, 2 lines*/
						max_exp_time = "22000";
						step_exp_time = "1";
						default_exp_time = "22000";/* us */
						embedded_metadata_height = "0";
					};
					mode3 {/*mode SENSOR_MODE_2880X1860_30FPS*/
						mclk_khz = "24000";
						num_lanes = "4";
						tegra_sinterface = "serial_e";
						vc_id = "2";
						discontinuous_clk = "no";
						dpcm_enable = "false";
						cil_settletime = "0";
						dynamic_pixel_bit_depth = "16";
						csi_pixel_bit_depth = "16";
						mode_type = "yuv";
						pixel_phase = "uyvy";
					
						active_w = "2880";
						active_h = "1860";
						readout_orientation = "0";
						line_length = "3200";
						inherent_gain = "1";
						pix_clk_hz = "297000000";
						serdes_pix_clk_hz = "300000000";

						gain_factor = "1000";
						min_gain_val = "1"; /* dB */
						max_gain_val = "30000"; /* dB */
						step_gain_val = "300"; /* 0.3 */
						default_gain = "0";
						min_hdr_ratio = "1";
						max_hdr_ratio = "1";
						framerate_factor = "1000000";
						min_framerate = "30000000";
						max_framerate = "30000000";
						step_framerate = "1";
						default_framerate = "30000000";
						exposure_factor = "1000000";
						min_exp_time = "59"; /*us, 2 lines*/
						max_exp_time = "33333";
						step_exp_time = "1";
						default_exp_time = "33333";/* us */
						embedded_metadata_height = "0";
					};
					mode4 {/*mode SENSOR_MODE_3840X2160_30FPS*/
						mclk_khz = "24000";
						num_lanes = "4";
						tegra_sinterface = "serial_e";
						vc_id = "2";
						discontinuous_clk = "no";
						dpcm_enable = "false";
						cil_settletime = "0";
						dynamic_pixel_bit_depth = "16";
						csi_pixel_bit_depth = "16";
						mode_type = "yuv";
						pixel_phase = "uyvy";

						active_w = "3840";
						active_h = "2160";
						readout_orientation = "0";
						line_length = "4200";
						inherent_gain = "1";
						pix_clk_hz = "248832000";
						serdes_pix_clk_hz = "375000000";

						gain_factor = "100";
						min_gain_val = "100"; /* dB */
						max_gain_val = "1600"; /* dB */
						step_gain_val = "1"; /* 0.1 */
						default_gain = "100";
						min_hdr_ratio = "1";
						max_hdr_ratio = "1";
						framerate_factor = "1000000";
						min_framerate = "30000000";
						max_framerate = "30000000";
						step_framerate = "1";
						default_framerate = "30000000";
						exposure_factor = "1000000";
						min_exp_time = "28"; /*us, 2 lines*/
						max_exp_time = "22000";
						step_exp_time = "1";
						default_exp_time = "22000";/* us */
						embedded_metadata_height = "0";
					};

					ports {
						#address-cells = <1>;
						#size-cells = <0>;
						port@0 {
							reg = <0>;
							cam_csi_out6: endpoint {
								vc-id = <2>;
								port-index = <4>;
								bus-width = <4>;
								remote-endpoint = <&jetson_csi_in6>;
						    };
					    };
				    };
				};
				cam_7@1d {
					compatible = "sensing,sgx-yuv-gmsl2-7";
					reg = <0x1d>;
					devnode = "video7";

					/* Physical dimensions of sensor */
					physical_w = "15.0";
					physical_h = "12.5";

					sensor_model ="sgx-yuv-gmsl2";

					/* Defines number of frames to be dropped by driver internally after applying */
					/* sensor crop settings. Some sensors send corrupt frames after applying */
					/* crop co-ordinates */
					post_crop_frame_drop = "0";

					/* Convert Gain to unit of dB (decibel) befor passing to kernel driver */
					use_decibel_gain = "true";

					/* enable CID_SENSOR_MODE_ID for sensor modes selection */
					use_sensor_mode_id = "true";

					mode0 {/*mode SENSOR_MODE_1280X720_30FPS*/
						mclk_khz = "24000";
						num_lanes = "4";
						tegra_sinterface = "serial_e";
						vc_id = "3";
						discontinuous_clk = "no";
						dpcm_enable = "false";
						cil_settletime = "0";
						dynamic_pixel_bit_depth = "16";
						csi_pixel_bit_depth = "16";
						mode_type = "yuv";
						pixel_phase = "uyvy";
						
						active_w = "1280";
						active_h = "720";
						readout_orientation = "0";
						line_length = "2200";
						inherent_gain = "1";
						pix_clk_hz = "150000000";
						serdes_pix_clk_hz = "350000000";
						gain_factor = "16";
						min_gain_val = "16"; /* 1.00x */
						max_gain_val = "356"; /* 22x */
						step_gain_val = "1";
						default_gain = "16"; /* 1.00x */
						min_hdr_ratio = "1";
						max_hdr_ratio = "1";
						framerate_factor = "1000000";
						min_framerate = "30000000";
						max_framerate = "30000000";
						step_framerate = "1";
						default_framerate = "30000000";
						exposure_factor = "1000000";
						min_exp_time = "59"; /*us, 2 lines*/
						max_exp_time = "33333";
						step_exp_time = "1";
						default_exp_time = "33333";/* us */
						embedded_metadata_height = "0";
					};
					mode1 {/*mode SENSOR_MODE_1920X1080_30FPS*/
						mclk_khz = "24000";
						num_lanes = "4";
						tegra_sinterface = "serial_e";
						vc_id = "3";
						discontinuous_clk = "no";
						dpcm_enable = "false";
						cil_settletime = "0";
						dynamic_pixel_bit_depth = "16";
						csi_pixel_bit_depth = "16";
						mode_type = "yuv";
						pixel_phase = "uyvy";

						active_w = "1920";
						active_h = "1080";
						readout_orientation = "0";
						line_length = "2200";
						inherent_gain = "1";
						pix_clk_hz = "74250000";
						serdes_pix_clk_hz = "300000000";

						gain_factor = "100";
						min_gain_val = "100"; /* dB */
						max_gain_val = "1600"; /* dB */
						step_gain_val = "1"; /* 0.1 */
						default_gain = "100";
						min_hdr_ratio = "1";
						max_hdr_ratio = "1";
						framerate_factor = "1000000";
						min_framerate = "30000000";
						max_framerate = "30000000";
						step_framerate = "1";
						default_framerate = "30000000";
						exposure_factor = "1000000";
						min_exp_time = "28"; /*us, 2 lines*/
						max_exp_time = "22000";
						step_exp_time = "1";
						default_exp_time = "22000";/* us */
						embedded_metadata_height = "0";
					};
					mode2 {/*mode SENSOR_MODE_1920X1536_30FPS*/
						mclk_khz = "24000";
						num_lanes = "4";
						tegra_sinterface = "serial_e";
						vc_id = "3";
						discontinuous_clk = "no";
						dpcm_enable = "false";
						cil_settletime = "0";
						dynamic_pixel_bit_depth = "16";
						csi_pixel_bit_depth = "16";
						mode_type = "yuv";
						pixel_phase = "uyvy";

						active_w = "1920";
						active_h = "1536";
						readout_orientation = "0";
						line_length = "2200";
						inherent_gain = "1";
						pix_clk_hz = "74250000";
						serdes_pix_clk_hz = "300000000";

						gain_factor = "100";
						min_gain_val = "100"; /* dB */
						max_gain_val = "1600"; /* dB */
						step_gain_val = "1"; /* 0.1 */
						default_gain = "100";
						min_hdr_ratio = "1";
						max_hdr_ratio = "1";
						framerate_factor = "1000000";
						min_framerate = "30000000";
						max_framerate = "30000000";
						step_framerate = "1";
						default_framerate = "30000000";
						exposure_factor = "1000000";
						min_exp_time = "28"; /*us, 2 lines*/
						max_exp_time = "22000";
						step_exp_time = "1";
						default_exp_time = "22000";/* us */
						embedded_metadata_height = "0";
					};
					mode3 {/*mode SENSOR_MODE_2880X1860_30FPS*/
						mclk_khz = "24000";
						num_lanes = "4";
						tegra_sinterface = "serial_e";
						vc_id = "3";
						discontinuous_clk = "no";
						dpcm_enable = "false";
						cil_settletime = "0";
						dynamic_pixel_bit_depth = "16";
						csi_pixel_bit_depth = "16";
						mode_type = "yuv";
						pixel_phase = "uyvy";
					
						active_w = "2880";
						active_h = "1860";
						readout_orientation = "0";
						line_length = "3200";
						inherent_gain = "1";
						pix_clk_hz = "297000000";
						serdes_pix_clk_hz = "300000000";

						gain_factor = "1000";
						min_gain_val = "1"; /* dB */
						max_gain_val = "30000"; /* dB */
						step_gain_val = "300"; /* 0.3 */
						default_gain = "0";
						min_hdr_ratio = "1";
						max_hdr_ratio = "1";
						framerate_factor = "1000000";
						min_framerate = "30000000";
						max_framerate = "30000000";
						step_framerate = "1";
						default_framerate = "30000000";
						exposure_factor = "1000000";
						min_exp_time = "59"; /*us, 2 lines*/
						max_exp_time = "33333";
						step_exp_time = "1";
						default_exp_time = "33333";/* us */
						embedded_metadata_height = "0";
					};
					mode4 {/*mode SENSOR_MODE_3840X2160_30FPS*/
						mclk_khz = "24000";
						num_lanes = "4";
						tegra_sinterface = "serial_e";
						vc_id = "3";
						discontinuous_clk = "no";
						dpcm_enable = "false";
						cil_settletime = "0";
						dynamic_pixel_bit_depth = "16";
						csi_pixel_bit_depth = "16";
						mode_type = "yuv";
						pixel_phase = "uyvy";

						active_w = "3840";
						active_h = "2160";
						readout_orientation = "0";
						line_length = "4200";
						inherent_gain = "1";
						pix_clk_hz = "248832000";
						serdes_pix_clk_hz = "375000000";

						gain_factor = "100";
						min_gain_val = "100"; /* dB */
						max_gain_val = "1600"; /* dB */
						step_gain_val = "1"; /* 0.1 */
						default_gain = "100";
						min_hdr_ratio = "1";
						max_hdr_ratio = "1";
						framerate_factor = "1000000";
						min_framerate = "30000000";
						max_framerate = "30000000";
						step_framerate = "1";
						default_framerate = "30000000";
						exposure_factor = "1000000";
						min_exp_time = "28"; /*us, 2 lines*/
						max_exp_time = "22000";
						step_exp_time = "1";
						default_exp_time = "22000";/* us */
						embedded_metadata_height = "0";
					};

					ports {
						#address-cells = <1>;
						#size-cells = <0>;
						port@0 {
							reg = <0>;
							cam_csi_out7: endpoint {
								vc-id = <3>;
								port-index = <4>;
								bus-width = <4>;
								remote-endpoint = <&jetson_csi_in7>;
						    };
					    };
				    };
				};
			};
		};
	};
};

/ {

	tegra-camera-platform {
		compatible = "nvidia, tegra-camera-platform";
		/**
		* tpg_max_iso = <>;
		* Max iso bw for 6 streams of tpg
		* streams * nvcsi_freq * PG_bitrate / RG10 * BPP
		* 6 * 102Mhz * 32 bits/ 10 bits * 2 Bps
		* = 3916.8 MBps
		*/

		num_csi_lanes = <16>;
		max_lane_speed = <2500000>;
		min_bits_per_pixel = <16>;
		vi_peak_byte_per_pixel = <2>;
		vi_bw_margin_pct = <25>;
		max_pixel_rate = <750000>;
		tpg_max_iso = <0x3bc400>;
		isp_peak_byte_per_pixel = <5>;
		isp_bw_margin_pct = <25>;

		/**
		 * The general guideline for naming badge_info contains 3 parts, and is as follows,
		 * The first part is the camera_board_id for the module; if the module is in a FFD
		 * platform, then use the platform name for this part.
		 * The second part contains the position of the module, ex. "rear" or "front".
		 * The third part contains the last 6 characters of a part number which is found
		 * in the module's specsheet from the vender.
		 */
		modules {
			module0 {
				badge = "cam0_position0";
				position = "position0";
				orientation = "1";
				drivernode0 {
					/* Declare PCL support driver (classically known as guid)  */
					pcl_id = "v4l2_sensor";
					/* Driver v4l2 device name */
					devname = "sgx-yuv-gmsl2 30-001a";
					/* Declare the device-tree hierarchy to driver instance */
					proc-device-tree = "/proc/device-tree/i2c@3180000/tca9543@70/i2c@0/cam_0@1a";
				};
			};
			module1 {
				badge = "cam1_position1";
				position = "position1";
				orientation = "1";
				drivernode0 {
					/* Declare PCL support driver (classically known as guid)  */
					pcl_id = "v4l2_sensor";
					/* Driver v4l2 device name */
					devname = "sgx-yuv-gmsl2 30-001b";
					/* Declare the device-tree hierarchy to driver instance */
					proc-device-tree = "/proc/device-tree/i2c@3180000/tca9543@70/i2c@0/cam_1@1b";
				};
			};
			module2 {
				badge = "cam2_position2";
				position = "position2";
				orientation = "1";
				drivernode0 {
					/* Declare PCL support driver (classically known as guid)  */
					pcl_id = "v4l2_sensor";
					/* Driver v4l2 device name */
					devname = "sgx-yuv-gmsl2 30-001c";
					/* Declare the device-tree hierarchy to driver instance */
					proc-device-tree = "/proc/device-tree/i2c@3180000/tca9543@70/i2c@0/cam_2@1c";
				};
			};
			module3 {
				badge = "cam3_position3";
				position = "position3";
				orientation = "1";
				drivernode0 {
					/* Declare PCL support driver (classically known as guid)  */
					pcl_id = "v4l2_sensor";
					/* Driver v4l2 device name */
					devname = "sgx-yuv-gmsl2 30-001d";
					/* Declare the device-tree hierarchy to driver instance */
					proc-device-tree = "/proc/device-tree/i2c@3180000/tca9543@70/i2c@0/cam_3@1d";
				};
			};
			module4 {
				badge = "cam4_position4";
				position = "position4";
				orientation = "1";
				drivernode0 {
					/* Declare PCL support driver (classically known as guid)  */
					pcl_id = "v4l2_sensor";
					/* Driver v4l2 device name */
					devname = "sgx-yuv-gmsl2 31-001a";
					/* Declare the device-tree hierarchy to driver instance */
					proc-device-tree = "/proc/device-tree/i2c@3180000/tca9543@70/i2c@1/cam_4@1a";
				};
			};
			module5 {
				badge = "cam5_position5";
				position = "position5";
				orientation = "1";
				drivernode0 {
					/* Declare PCL support driver (classically known as guid)  */
					pcl_id = "v4l2_sensor";
					/* Driver v4l2 device name */
					devname = "sgx-yuv-gmsl2 31-001b";
					/* Declare the device-tree hierarchy to driver instance */
					proc-device-tree = "/proc/device-tree/i2c@3180000/tca9543@70/i2c@1/cam_5@1b";
				};
			};
			module6 {
				badge = "cam6_position6";
				position = "position6";
				orientation = "1";
				drivernode0 {
					/* Declare PCL support driver (classically known as guid)  */
					pcl_id = "v4l2_sensor";
					/* Driver v4l2 device name */
					devname = "sgx-yuv-gmsl2 31-001c";
					/* Declare the device-tree hierarchy to driver instance */
					proc-device-tree = "/proc/device-tree/i2c@3180000/tca9543@70/i2c@1/cam_6@1c";
				};
			};
			module7 {
				badge = "cam7_position7";
				position = "position7";
				orientation = "1";
				drivernode0 {
					/* Declare PCL support driver (classically known as guid)  */
					pcl_id = "v4l2_sensor";
					/* Driver v4l2 device name */
					devname = "sgx-yuv-gmsl2 31-001d";
					/* Declare the device-tree hierarchy to driver instance */
					proc-device-tree = "/proc/device-tree/i2c@3180000/tca9543@70/i2c@1/cam_7@1d";
				};
			};
		};
	};
};
